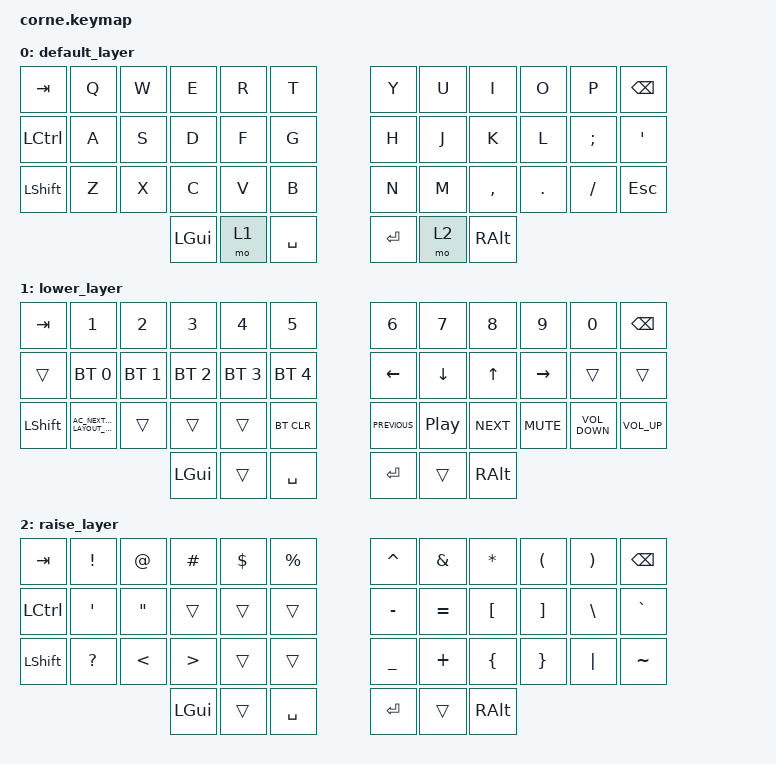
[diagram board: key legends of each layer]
/*
 * Copyright (c) 2020 The ZMK Contributors
 *
 * SPDX-License-Identifier: MIT
 */

#include <behaviors.dtsi>
#include <dt-bindings/zmk/bt.h>
#include <dt-bindings/zmk/keys.h>

/ {
    keymap {
        compatible = "zmk,keymap";

        default_layer {
            // -----------------------------------------------------------------------------------------
            // |  TAB |  Q  |  W  |  E  |  R  |  T  |   |  Y  |  U   |  I  |  O  |  P  | BKSP |
            // | CTRL |  A  |  S  |  D  |  F  |  G  |   |  H  |  J   |  K  |  L  |  ;  |  '   |
            // | SHFT |  Z  |  X  |  C  |  V  |  B  |   |  N  |  M   |  ,  |  .  |  /  | ESC  |
            //                    | GUI | LWR | SPC |   | ENT | RSE  | ALT |

            bindings = <
&kp TAB    &kp Q  &kp W  &kp E     &kp R  &kp T        &kp Y    &kp U  &kp I      &kp O    &kp P     &kp BSPC
&kp LCTRL  &kp A  &kp S  &kp D     &kp F  &kp G        &kp H    &kp J  &kp K      &kp L    &kp SEMI  &kp SQT
&kp LSHFT  &kp Z  &kp X  &kp C     &kp V  &kp B        &kp N    &kp M  &kp COMMA  &kp DOT  &kp FSLH  &kp ESC
                         &kp LGUI  &mo 1  &kp SPACE    &kp RET  &mo 2  &kp RALT
            >;
        };

        lower_layer {
            // -----------------------------------------------------------------------------------------
            // |  TAB |  1  |  2  |  3  |  4  |  5  |   |  6  |  7  |  8  |  9  |  0  | BKSP |
            // | BTCLR| BT1 | BT2 | BT3 | BT4 | BT5 |   | LFT | DWN |  UP | RGT |     |      |
            // | SHFT |     |     |     |     |     |   |     |     |     |     |     |      |
            //                    | GUI |     | SPC |   | ENT |     | ALT |

            bindings = <
&kp TAB    &kp N1                                &kp N2        &kp N3        &kp N4        &kp N5          &kp N6          &kp N7            &kp N8      &kp N9      &kp N0             &kp BSPC
&trans     &bt BT_SEL 0                          &bt BT_SEL 1  &bt BT_SEL 2  &bt BT_SEL 3  &bt BT_SEL 4    &kp LEFT        &kp DOWN          &kp UP      &kp RIGHT   &trans             &trans
&kp LSHFT  &kp C_AC_NEXT_KEYBOARD_LAYOUT_SELECT  &trans        &trans        &trans        &bt BT_CLR      &kp C_PREVIOUS  &kp C_PLAY_PAUSE  &kp C_NEXT  &kp C_MUTE  &kp C_VOLUME_DOWN  &kp C_VOLUME_UP
                                                               &kp LGUI      &trans        &kp SPACE       &kp RET         &trans            &kp RALT
            >;
        };

        raise_layer {
            // -----------------------------------------------------------------------------------------
            // |  TAB |  !  |  @  |  #  |  $  |  %  |   |  ^  |  &  |  *  |  (  |  )  | BKSP |
            // | CTRL |  ?  |     |     |     |     |   |  -  |  =  |  [  |  ]  |  \  |  `   |
            // | SHFT |     |     |     |     |     |   |  _  |  +  |  {  |  }  | "|" |  ~   |
            //                    | GUI |     | SPC |   | ENT |     | ALT |

            bindings = <
&kp TAB    &kp EXCL          &kp AT             &kp HASH          &kp DLLR  &kp PRCNT    &kp CARET  &kp AMPS   &kp ASTRK  &kp LPAR  &kp RPAR  &kp BSPC
&kp LCTRL  &kp SINGLE_QUOTE  &kp DOUBLE_QUOTES  &trans            &trans    &trans       &kp MINUS  &kp EQUAL  &kp LBKT   &kp RBKT  &kp BSLH  &kp GRAVE
&kp LSHFT  &kp QUESTION      &kp LESS_THAN      &kp GREATER_THAN  &trans    &trans       &kp UNDER  &kp PLUS   &kp LBRC   &kp RBRC  &kp PIPE  &kp TILDE
                                                &kp LGUI          &trans    &kp SPACE    &kp RET    &trans     &kp RALT
            >;
        };
    };
};
